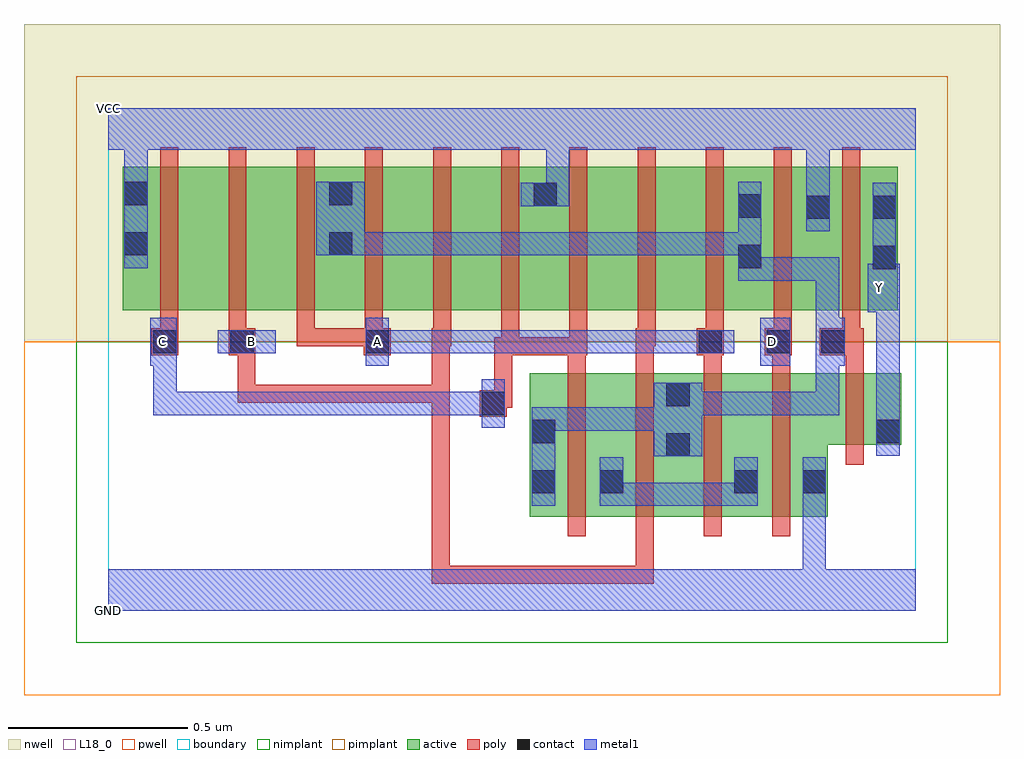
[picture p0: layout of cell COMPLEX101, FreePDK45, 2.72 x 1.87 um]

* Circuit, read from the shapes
.subckt COMPLEX101 A B C D GND VCC Y
M1 n1 C n2 VSUBS nfet w=0.4u l=0.05u
M2 n2 B n1 VSUBS nfet w=0.4u l=0.05u
M3 n1 A n2 VSUBS nfet w=0.4u l=0.05u
M4 GND D n1 VSUBS nfet w=0.4u l=0.05u
M5 Y n2 GND VSUBS nfet w=0.2u l=0.05u
M6 n3 C VCC n4 pfet w=0.4u l=0.05u
M7 n5 B n3 n4 pfet w=0.4u l=0.05u
M8 n2 A n5 n4 pfet w=0.4u l=0.05u
M9 n6 A n2 n4 pfet w=0.4u l=0.05u
M10 n7 B n6 n4 pfet w=0.4u l=0.05u
M11 VCC C n7 n4 pfet w=0.4u l=0.05u
M12 n8 C VCC n4 pfet w=0.4u l=0.05u
M13 n9 B n8 n4 pfet w=0.4u l=0.05u
M14 n2 A n9 n4 pfet w=0.4u l=0.05u
M15 VCC D n2 n4 pfet w=0.4u l=0.05u
M16 Y n2 VCC n4 pfet w=0.4u l=0.05u
.ends

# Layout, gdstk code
import gdstk
lib = gdstk.Library(unit=1e-6, precision=1e-09)
def R(c, l, rs):  # rectangles x0, y0, x1, y1
    for r in rs: c.add(gdstk.rectangle(r[:2], r[2:], *l))
def A(c, l, x, y, w, h, nx, ny, dx, dy):  # array of equal rectangles
    R(c, l, [(x+i*dx, y+j*dy, x+i*dx+w, y+j*dy+h) for i in range(nx) for j in range(ny)])
active = (1, 0)
pwell = (2, 0)
nwell = (3, 0)
nimplant = (4, 0)
pimplant = (5, 0)
poly = (9, 0)
contact = (10, 0)
metal1 = (11, 0)
L18_0 = (18, 0)
boundary = (235, 0)

complex101 = lib.new_cell('COMPLEX101')
A(complex101, active, 0.04, 0.837, 0.225, 0.4, 3, 1, 0.57, 0)
A(complex101, active, 0.265, 0.837, 0.19, 0.4, 3, 1, 0.57, 0)
A(complex101, active, 0.455, 0.837, 0.23, 0.4, 3, 1, 0.57, 0)
R(complex101, active, [(1.175,0.262,1.44,0.662), (1.365,0.262,1.625,0.662), (1.55,0.262,1.815,0.662), (1.74,0.262,2.005,0.662), (1.175,0.295,1.25,0.662), (1.365,0.295,1.44,0.537), (1.55,0.295,1.625,0.662), (1.74,0.295,1.815,0.492), (1.93,0.322,2.005,0.597), (1.93,0.462,2.21,0.662), (2.135,0.462,2.21,0.662), (0.04,0.837,0.115,1.205), (1.75,0.837,2.015,1.237), (1.94,0.837,2.2,1.237), (2.125,0.837,2.2,1.2), (0.61,0.907,0.685,1.2), (1.18,0.907,1.255,1.205), (1.75,0.907,1.825,1.2), (1.94,0.907,2.015,1.205)])
R(complex101, pwell, [(-0.235,-0.235,2.485,0.75)])
R(complex101, nwell, [(-0.235,0.75,2.485,1.635)])
R(complex101, nimplant, [(-0.09,-0.09,2.34,0.75)])
R(complex101, pimplant, [(-0.09,0.75,2.34,1.49)])
A(complex101, poly, 1.28, 0.207, 0.05, 0.51, 4, 1, 0.19, 0)
A(complex101, poly, 0.145, 0.737, 0.05, 0.095, 5, 1, 0.19, 0)
A(complex101, poly, 1.475, 0.737, 0.05, 0.095, 4, 1, 0.19, 0)
A(complex101, poly, 0.145, 0.782, 0.05, 0.51, 11, 1, 0.19, 0)
R(complex101, poly, [(0.902,0.075,0.952,0.125), (0.902,0.075,0.952,0.125), (0.902,0.075,0.952,0.125), (0.902,0.075,0.952,0.125), (0.902,0.075,0.952,0.125), (0.902,0.075,1.197,0.125), (0.902,0.075,0.952,0.63), (1.147,0.075,1.197,0.125), (1.147,0.075,1.197,0.125), (1.147,0.075,1.197,0.125), (1.147,0.075,1.33,0.125), (1.28,0.075,1.33,0.125), (1.28,0.075,1.52,0.125), (1.47,0.075,1.52,0.257), (1.47,0.075,1.52,0.125), (1.47,0.075,1.52,0.125), (1.47,0.075,1.52,0.125), (2.055,0.407,2.105,0.717), (1.035,0.54,1.11,0.615), (1.06,0.565,1.11,0.615), (1.06,0.565,1.125,0.615), (1.075,0.565,1.125,0.762), (0.36,0.58,0.41,0.762), (0.36,0.58,0.41,0.63), (0.36,0.58,0.41,0.63), (0.36,0.58,0.41,0.63), (0.36,0.58,0.41,0.63), (0.36,0.58,0.41,0.63), (0.36,0.58,0.595,0.63), (0.545,0.58,0.595,0.63), (0.545,0.58,0.595,0.63), (0.545,0.58,0.595,0.63), (0.545,0.58,0.82,0.63), (0.77,0.58,0.82,0.63), (0.77,0.58,0.82,0.63), (0.77,0.58,0.82,0.63), (0.77,0.58,0.952,0.63), (0.902,0.58,0.952,0.63), (0.902,0.58,0.952,0.63), (0.902,0.58,0.952,0.63), (0.902,0.58,0.952,0.63), (0.902,0.58,0.952,0.63), (0.902,0.58,0.952,0.787), (1.28,0.667,1.33,0.762), (1.47,0.667,1.52,0.787), (1.66,0.667,1.71,0.762), (1.85,0.667,1.9,0.762), (2.055,0.667,2.105,0.762), (0.12,0.712,0.195,0.787), (0.335,0.712,0.41,0.787), (0.712,0.712,0.787,0.787), (1.075,0.712,1.145,0.762), (1.095,0.712,1.145,0.832), (1.095,0.712,1.145,0.762), (1.095,0.712,1.145,0.762), (1.095,0.712,1.33,0.762), (1.28,0.712,1.335,0.762), (1.285,0.712,1.335,0.832), (1.64,0.712,1.715,0.787), (1.83,0.712,1.905,0.787), (1.982,0.712,2.105,0.787), (0.525,0.737,0.575,0.787), (0.525,0.737,0.575,0.787), (0.525,0.737,0.575,0.787), (0.525,0.737,0.762,0.787), (0.902,0.737,0.955,0.787), (1.47,0.737,1.525,0.787)])
R(complex101, contact, [(1.18,0.327,1.245,0.392), (1.37,0.327,1.435,0.392), (1.745,0.327,1.81,0.392), (1.935,0.327,2,0.392), (1.555,0.43,1.62,0.495), (1.18,0.467,1.245,0.532), (2.14,0.467,2.205,0.532), (1.04,0.545,1.105,0.61), (1.555,0.57,1.62,0.635), (0.125,0.717,0.19,0.782), (0.34,0.717,0.405,0.782), (0.717,0.717,0.782,0.782), (1.645,0.717,1.71,0.782), (1.835,0.717,1.9,0.782), (1.987,0.717,2.052,0.782), (2.13,0.952,2.195,1.017), (1.755,0.955,1.82,1.02), (0.045,0.99,0.11,1.055), (0.615,0.99,0.68,1.055), (1.945,1.092,2.01,1.157), (2.13,1.092,2.195,1.157), (1.755,1.095,1.82,1.16), (1.185,1.127,1.25,1.192), (0.045,1.13,0.11,1.195), (0.615,1.13,0.68,1.195)])
R(complex101, metal1, [(0,0,2.25,0.115), (1.935,0.05,2,0.115), (1.935,0.05,2,0.115), (1.935,0.05,2,0.357), (1.18,0.292,1.245,0.567), (1.37,0.292,1.435,0.427), (1.37,0.292,1.435,0.357), (1.37,0.292,1.435,0.357), (1.37,0.292,1.585,0.357), (1.52,0.292,1.585,0.357), (1.52,0.292,1.585,0.357), (1.52,0.292,1.585,0.357), (1.52,0.292,1.81,0.357), (1.745,0.292,1.81,0.427), (1.935,0.292,2,0.427), (1.52,0.43,1.655,0.635), (2.14,0.432,2.205,0.567), (1.18,0.502,1.245,0.567), (1.18,0.502,1.245,0.567), (1.18,0.502,1.447,0.567), (1.382,0.502,1.447,0.567), (1.382,0.502,1.447,0.567), (1.382,0.502,1.447,0.567), (1.382,0.502,1.585,0.567), (2.14,0.502,2.205,0.897), (1.04,0.51,1.105,0.645), (0.125,0.545,0.19,0.61), (0.125,0.545,0.327,0.61), (0.125,0.545,0.19,0.747), (0.262,0.545,0.327,0.61), (0.262,0.545,0.327,0.61), (0.262,0.545,0.327,0.61), (0.262,0.545,0.465,0.61), (0.4,0.545,0.465,0.61), (0.4,0.545,0.465,0.61), (0.4,0.545,0.465,0.61), (0.4,0.545,0.602,0.61), (0.537,0.545,0.602,0.61), (0.537,0.545,0.92,0.61), (0.855,0.545,0.92,0.61), (0.855,0.545,0.92,0.61), (0.855,0.545,0.92,0.61), (0.855,0.545,1.057,0.61), (0.992,0.545,1.057,0.61), (0.992,0.545,1.057,0.61), (0.992,0.545,1.057,0.61), (0.992,0.545,1.105,0.61), (1.59,0.545,1.655,0.61), (1.59,0.545,1.655,0.61), (1.59,0.545,1.862,0.61), (1.797,0.545,1.862,0.61), (1.797,0.545,1.862,0.61), (1.797,0.545,1.862,0.61), (1.797,0.545,2.037,0.61), (1.972,0.545,2.037,0.61), (1.972,0.545,2.037,0.817), (0.117,0.682,0.19,0.817), (0.125,0.682,0.19,0.747), (0.125,0.682,0.19,0.747), (0.717,0.682,0.782,0.817), (1.817,0.682,1.9,0.817), (1.987,0.682,2.052,0.817), (0.305,0.717,0.467,0.782), (0.717,0.717,0.92,0.782), (0.855,0.717,0.92,0.782), (0.855,0.717,0.92,0.782), (0.855,0.717,0.92,0.782), (0.855,0.717,1.057,0.782), (0.992,0.717,1.057,0.782), (0.992,0.717,1.057,0.782), (0.992,0.717,1.057,0.782), (0.992,0.717,1.297,0.782), (1.232,0.717,1.297,0.782), (1.232,0.717,1.297,0.782), (1.232,0.717,1.297,0.782), (1.232,0.717,1.447,0.782), (1.382,0.717,1.447,0.782), (1.382,0.717,1.447,0.782), (1.382,0.717,1.447,0.782), (1.382,0.717,1.672,0.782), (1.607,0.717,1.672,0.782), (1.607,0.717,1.675,0.782), (1.61,0.717,1.745,0.782), (1.972,0.752,2.052,0.817), (1.972,0.752,2.037,0.985), (1.972,0.752,2.037,0.817), (2.117,0.832,2.205,0.967), (2.13,0.902,2.195,0.982), (2.13,0.917,2.195,1.192), (1.755,0.92,1.82,1.195), (1.755,0.92,2.037,0.985), (1.755,0.92,1.82,0.985), (1.755,0.92,1.82,0.985), (1.972,0.92,2.037,0.985), (0.045,0.955,0.11,1.23), (0.58,0.99,0.715,1.195), (0.65,0.99,0.715,1.055), (0.65,0.99,0.715,1.055), (0.65,0.99,0.92,1.055), (0.855,0.99,0.92,1.055), (0.855,0.99,0.92,1.055), (0.855,0.99,0.92,1.055), (0.855,0.99,1.057,1.055), (0.992,0.99,1.057,1.055), (0.992,0.99,1.057,1.055), (0.992,0.99,1.057,1.055), (0.992,0.99,1.297,1.055), (1.232,0.99,1.297,1.055), (1.232,0.99,1.297,1.055), (1.232,0.99,1.297,1.055), (1.232,0.99,1.447,1.055), (1.382,0.99,1.447,1.055), (1.382,0.99,1.447,1.055), (1.382,0.99,1.447,1.055), (1.382,0.99,1.585,1.055), (1.52,0.99,1.585,1.055), (1.52,0.99,1.585,1.055), (1.52,0.99,1.585,1.055), (1.52,0.99,1.82,1.055), (1.945,1.057,2.01,1.192), (1.15,1.127,1.285,1.192), (1.22,1.127,1.285,1.35), (1.945,1.127,2.01,1.35), (0.045,1.165,0.11,1.35), (0,1.285,2.25,1.4)])
R(complex101, L18_0, [(0,0,2.25,0.115), (1.935,0.05,2,0.115), (1.935,0.05,2,0.115), (1.935,0.05,2,0.357), (1.935,0.292,2,0.427), (2.14,0.432,2.205,0.567), (2.14,0.502,2.205,0.897), (1.04,0.51,1.105,0.645), (0.125,0.545,0.19,0.61), (0.125,0.545,0.19,0.747), (0.125,0.545,0.327,0.61), (0.262,0.545,0.327,0.61), (0.262,0.545,0.327,0.61), (0.262,0.545,0.327,0.61), (0.262,0.545,0.465,0.61), (0.4,0.545,0.465,0.61), (0.4,0.545,0.465,0.61), (0.4,0.545,0.465,0.61), (0.4,0.545,0.602,0.61), (0.537,0.545,0.602,0.61), (0.537,0.545,0.92,0.61), (0.855,0.545,0.92,0.61), (0.855,0.545,0.92,0.61), (0.855,0.545,0.92,0.61), (0.855,0.545,1.057,0.61), (0.992,0.545,1.057,0.61), (0.992,0.545,1.057,0.61), (0.992,0.545,1.057,0.61), (0.992,0.545,1.105,0.61), (0.117,0.682,0.19,0.817), (0.125,0.682,0.19,0.747), (0.125,0.682,0.19,0.747), (0.717,0.682,0.782,0.817), (1.817,0.682,1.9,0.817), (0.117,0.717,0.182,0.782), (0.305,0.717,0.467,0.782), (0.367,0.717,0.432,0.782), (0.717,0.717,0.782,0.782), (0.717,0.717,0.92,0.782), (0.855,0.717,0.92,0.782), (0.855,0.717,0.92,0.782), (0.855,0.717,0.92,0.782), (0.855,0.717,1.057,0.782), (0.992,0.717,1.057,0.782), (0.992,0.717,1.057,0.782), (0.992,0.717,1.057,0.782), (0.992,0.717,1.297,0.782), (1.232,0.717,1.297,0.782), (1.232,0.717,1.297,0.782), (1.232,0.717,1.297,0.782), (1.232,0.717,1.447,0.782), (1.382,0.717,1.447,0.782), (1.382,0.717,1.447,0.782), (1.382,0.717,1.447,0.782), (1.382,0.717,1.672,0.782), (1.607,0.717,1.672,0.782), (1.607,0.717,1.675,0.782), (1.61,0.717,1.745,0.782), (1.817,0.717,1.882,0.782), (2.117,0.832,2.205,0.967), (2.117,0.867,2.182,0.932), (2.13,0.902,2.195,0.982), (2.13,0.917,2.195,1.192), (0.045,0.955,0.11,1.23), (1.945,1.057,2.01,1.192), (1.15,1.127,1.285,1.192), (1.22,1.127,1.285,1.35), (1.945,1.127,2.01,1.35), (0.045,1.165,0.11,1.35), (0,1.285,2.25,1.4)])
R(complex101, boundary, [(0,0,2.25,1.4)])
complex101.add(gdstk.Label('A', (0.75,0.75), layer=11, texttype=0))
complex101.add(gdstk.Label('B', (0.4,0.75), layer=11, texttype=0))
complex101.add(gdstk.Label('C', (0.15,0.75), layer=11, texttype=0))
complex101.add(gdstk.Label('D', (1.85,0.75), layer=11, texttype=0))
complex101.add(gdstk.Label('Y', (2.15,0.9), layer=11, texttype=0))
complex101.add(gdstk.Label('VCC', (0,1.4), layer=11, texttype=0))
complex101.add(gdstk.Label('GND', (0,0), layer=11, texttype=0))

lib.write_gds('COMPLEX101.gds')
